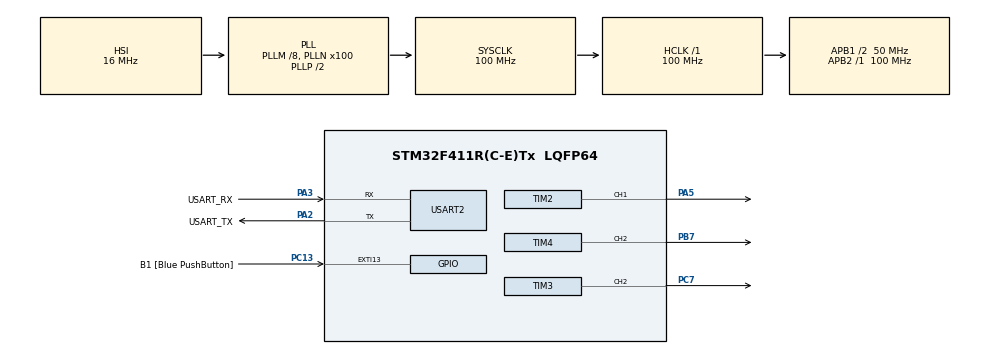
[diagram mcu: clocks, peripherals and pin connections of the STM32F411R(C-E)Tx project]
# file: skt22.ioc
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Mcu.Family=STM32F4
Mcu.Name=STM32F411R(C-E)Tx
Mcu.Package=LQFP64
NVIC.EXTI15_10_IRQn=true\:0\:2\:true\:false\:true\:true\:true\:true
NVIC.PriorityGroup=NVIC_PRIORITYGROUP_0
NVIC.TIM3_IRQn=true\:0\:0\:false\:false\:true\:true\:true\:true
NVIC.TIM4_IRQn=true\:0\:0\:false\:false\:true\:true\:true\:true
NVIC.USART2_IRQn=true\:0\:2\:false\:false\:true\:true\:true\:true
PA13.GPIO_Label=TMS
PA13.Mode=Serial_Wire
PA13.Signal=SYS_JTMS-SWDIO
PA14.GPIO_Label=TCK
PA14.Mode=Serial_Wire
PA14.Signal=SYS_JTCK-SWCLK
PA2.GPIO_Label=USART_TX
PA2.Mode=Asynchronous
PA2.Signal=USART2_TX
PA3.GPIO_Label=USART_RX
PA3.Mode=Asynchronous
PA3.Signal=USART2_RX
PA5.Signal=S_TIM2_CH1_ETR
PB3.GPIO_Label=SWO
PB3.Signal=SYS_JTDO-SWO
PB7.Signal=S_TIM4_CH2
PC13-ANTI_TAMP.GPIO_Label=B1 [Blue PushButton]
PC13-ANTI_TAMP.GPIO_ModeDefaultEXTI=GPIO_MODE_IT_RISING_FALLING
PC13-ANTI_TAMP.Signal=GPXTI13
PC14-OSC32_IN.Mode=LSE-External-Oscillator
PC14-OSC32_IN.Signal=RCC_OSC32_IN
PC15-OSC32_OUT.Mode=LSE-External-Oscillator
PC15-OSC32_OUT.Signal=RCC_OSC32_OUT
PC7.Signal=S_TIM3_CH2
PH0\ -\ OSC_IN.Mode=HSE-External-Clock-Source
PH0\ -\ OSC_IN.Signal=RCC_OSC_IN
PH1\ -\ OSC_OUT.Mode=HSE-External-Clock-Source
PH1\ -\ OSC_OUT.Signal=RCC_OSC_OUT
ProjectManager.HeapSize=0x200
ProjectManager.StackSize=0x400
ProjectManager.TargetToolchain=STM32CubeIDE
RCC.48MHZClocksFreq_Value=50000000
RCC.AHBFreq_Value=100000000
RCC.APB1CLKDivider=RCC_HCLK_DIV2
RCC.APB1Freq_Value=50000000
RCC.APB1TimFreq_Value=100000000
RCC.APB2Freq_Value=100000000
RCC.APB2TimFreq_Value=100000000
RCC.CortexFreq_Value=100000000
RCC.FLatency-AdvancedSettings=FLASH_LATENCY_3
RCC.HCLKFreq_Value=100000000
RCC.HSE_VALUE=8000000
RCC.HSI_VALUE=16000000
RCC.PLLM=8
RCC.PLLN=100
RCC.SYSCLKFreq_VALUE=100000000
RCC.SYSCLKSource=RCC_SYSCLKSOURCE_PLLCLK
RCC.VCOOutputFreq_Value=200000000
SH.S_TIM2_CH1_ETR.0=TIM2_CH1,PWM Generation1 CH1
SH.S_TIM3_CH2.0=TIM3_CH2,PWM Generation2 CH2
SH.S_TIM4_CH2.0=TIM4_CH2,PWM Generation2 CH2
TIM2.AutoReloadPreload=TIM_AUTORELOAD_PRELOAD_ENABLE
TIM2.Channel-PWM\ Generation1\ CH1=TIM_CHANNEL_1
TIM2.Period=100
TIM2.Prescaler=999
TIM3.AutoReloadPreload=TIM_AUTORELOAD_PRELOAD_ENABLE
TIM3.Channel-PWM\ Generation2\ CH2=TIM_CHANNEL_2
TIM3.Period=4999
TIM3.Prescaler=999
TIM4.AutoReloadPreload=TIM_AUTORELOAD_PRELOAD_ENABLE
TIM4.Channel-PWM\ Generation2\ CH2=TIM_CHANNEL_2
TIM4.Period=29999
TIM4.Prescaler=9999
USART2.VirtualMode=VM_ASYNC
board=NUCLEO-F411RE

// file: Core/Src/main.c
/* USER CODE BEGIN Header */
/**
 ******************************************************************************
 * @file           : main.c
 * @brief          : Main program body
 ******************************************************************************
 * @attention
 *
 * Copyright (c) 2024 STMicroelectronics.
 * All rights reserved.
 *
 * This software is licensed under terms that can be found in the LICENSE file
 * in the root directory of this software component.
 * If no LICENSE file comes with this software, it is provided AS-IS.
 *
 ******************************************************************************
 */
/* USER CODE END Header */
#include "main.h"

TIM_HandleTypeDef htim2;
TIM_HandleTypeDef htim3;
TIM_HandleTypeDef htim4;

UART_HandleTypeDef huart2;

void SystemClock_Config(void);
static void MX_GPIO_Init(void);
static void MX_USART2_UART_Init(void);
static void MX_TIM2_Init(void);
static void MX_TIM3_Init(void);
static void MX_TIM4_Init(void);

/* USER CODE BEGIN 0 */
uint8_t isTakingInput = 1;
uint8_t state = GPIO_PIN_SET;
uint8_t lastState = GPIO_PIN_SET;
uint8_t isPushing = 0;
uint8_t lastPushTick = 0;
uint8_t debounceTick = 50;
uint8_t maxHoldTime = 2000;
uint8_t isHaling = 0;
uint8_t justStart = 1;
char ch;

int curTick = 0;
int lastTick = 0;

int percent[] = { 0, 10, 20, 30, 40, 50, 60, 70, 80, 90, 100 };
int percentIdx = 0;

void HAL_TIM_PeriodElapsedCallback(TIM_HandleTypeDef *htim) {
	if (htim->Instance == htim3.Instance) {
		if (HAL_GPIO_ReadPin(GPIOC, GPIO_PIN_13) == GPIO_PIN_RESET) {
			lastPushTick = HAL_GetTick();
			if (isTakingInput == 1) {
				percentIdx++;
				percentIdx = percentIdx % 11;
				char buffer[32];
				sprintf(buffer, "%d\r\n", percentIdx);
				HAL_UART_Transmit(&huart2, &buffer, strlen(buffer), 100);
			}

			HAL_TIM_Base_Stop(htim);
		}

	}

	else if (htim->Instance == htim4.Instance) {

		if (HAL_GPIO_ReadPin(GPIOC, GPIO_PIN_13) == GPIO_PIN_RESET
				&& 2000 < HAL_GetTick() - lastPushTick && justStart == 0) {

			isTakingInput = 0;
			char buffer[32];
			sprintf(buffer, "TRIGGER 2 SEC\r\n");
			HAL_UART_Transmit(&huart2, &buffer, strlen(buffer), 100);

		}
		isHaling = 0;
		justStart = 0;
		HAL_TIM_Base_Stop(htim);
	}
}

void HAL_GPIO_EXTI_Callback(uint16_t GPIO_Pin) {

	state = HAL_GPIO_ReadPin(GPIOC, GPIO_PIN_13);
//	char buffer[32];
//	sprintf(buffer, "%d----\r\n", percentIdx);
//	HAL_UART_Transmit(&huart2, &buffer, strlen(buffer), 100);

	if (state == GPIO_PIN_RESET) {
		HAL_TIM_Base_Start_IT(&htim3); // 50 ms delay
		if (isHaling == 0) {
			HAL_TIM_Base_Start_IT(&htim4); // 2000 ms delay
			isHaling == 1;
		}

	}

//	if (curTick - lastPushTick >= 2000) {
//		isTakingInput = 0;
//		char buffer[32];
//		sprintf(buffer, "NOMORE INPUT\r\n");
//		HAL_UART_Transmit(&huart2, &buffer, strlen(buffer), 100);
//		return;
//	}
//
//	if (isPushing == 0 && state == GPIO_PIN_RESET) {
//
//	}
//
//	lastPushTick = curTick;

}
/* USER CODE END 0 */

int main(void) {

	/* MCU Configuration--------------------------------------------------------*/

	/* Reset of all peripherals, Initializes the Flash interface and the Systick. */
	HAL_Init();

	/* Configure the system clock */
	SystemClock_Config();

	/* Initialize all configured peripherals */
	MX_GPIO_Init();
	MX_USART2_UART_Init();
	MX_TIM2_Init();
	MX_TIM3_Init();
	MX_TIM4_Init();
	/* USER CODE BEGIN 2 */
	HAL_TIM_PWM_Start(&htim2, TIM_CHANNEL_1);

	/* USER CODE END 2 */

	/* Infinite loop */
	/* USER CODE BEGIN WHILE */
	while (1) {
		TIM2->CCR1 = percent[percentIdx];

		if (HAL_UART_Receive(&huart2, &ch, 1, 100) == HAL_OK) {
			if (ch == '\r' || ch == '\n') {
				HAL_UART_Transmit(&huart2, "\r\n", 2, 100);
			} else {
				HAL_UART_Transmit(&huart2, &ch, 1, 100);
			}
		}
		/* USER CODE END WHILE */

	}
}

void SystemClock_Config(void) {
	RCC_OscInitTypeDef RCC_OscInitStruct = { 0 };
	RCC_ClkInitTypeDef RCC_ClkInitStruct = { 0 };

	/** Configure the main internal regulator output voltage
	 */
	__HAL_RCC_PWR_CLK_ENABLE();
	__HAL_PWR_VOLTAGESCALING_CONFIG(PWR_REGULATOR_VOLTAGE_SCALE1);

	/** Initializes the RCC Oscillators according to the specified parameters
	 * in the RCC_OscInitTypeDef structure.
	 */
	RCC_OscInitStruct.OscillatorType = RCC_OSCILLATORTYPE_HSI;
	RCC_OscInitStruct.HSIState = RCC_HSI_ON;
	RCC_OscInitStruct.HSICalibrationValue = RCC_HSICALIBRATION_DEFAULT;
	RCC_OscInitStruct.PLL.PLLState = RCC_PLL_ON;
	RCC_OscInitStruct.PLL.PLLSource = RCC_PLLSOURCE_HSI;
	RCC_OscInitStruct.PLL.PLLM = 8;
	RCC_OscInitStruct.PLL.PLLN = 100;
	RCC_OscInitStruct.PLL.PLLP = RCC_PLLP_DIV2;
	RCC_OscInitStruct.PLL.PLLQ = 4;
	if (HAL_RCC_OscConfig(&RCC_OscInitStruct) != HAL_OK) {
		Error_Handler();
	}

	/** Initializes the CPU, AHB and APB buses clocks
	 */
	RCC_ClkInitStruct.ClockType = RCC_CLOCKTYPE_HCLK | RCC_CLOCKTYPE_SYSCLK
			| RCC_CLOCKTYPE_PCLK1 | RCC_CLOCKTYPE_PCLK2;
	RCC_ClkInitStruct.SYSCLKSource = RCC_SYSCLKSOURCE_PLLCLK;
	RCC_ClkInitStruct.AHBCLKDivider = RCC_SYSCLK_DIV1;
	RCC_ClkInitStruct.APB1CLKDivider = RCC_HCLK_DIV2;
	RCC_ClkInitStruct.APB2CLKDivider = RCC_HCLK_DIV1;

	if (HAL_RCC_ClockConfig(&RCC_ClkInitStruct, FLASH_LATENCY_3) != HAL_OK) {
		Error_Handler();
	}
}

static void MX_TIM2_Init(void) {

	TIM_MasterConfigTypeDef sMasterConfig = { 0 };
	TIM_OC_InitTypeDef sConfigOC = { 0 };

	htim2.Instance = TIM2;
	htim2.Init.Prescaler = 999;
	htim2.Init.CounterMode = TIM_COUNTERMODE_UP;
	htim2.Init.Period = 100;
	htim2.Init.ClockDivision = TIM_CLOCKDIVISION_DIV1;
	htim2.Init.AutoReloadPreload = TIM_AUTORELOAD_PRELOAD_ENABLE;
	if (HAL_TIM_PWM_Init(&htim2) != HAL_OK) {
		Error_Handler();
	}
	sMasterConfig.MasterOutputTrigger = TIM_TRGO_RESET;
	sMasterConfig.MasterSlaveMode = TIM_MASTERSLAVEMODE_DISABLE;
	if (HAL_TIMEx_MasterConfigSynchronization(&htim2, &sMasterConfig)
			!= HAL_OK) {
		Error_Handler();
	}
	sConfigOC.OCMode = TIM_OCMODE_PWM1;
	sConfigOC.Pulse = 0;
	sConfigOC.OCPolarity = TIM_OCPOLARITY_HIGH;
	sConfigOC.OCFastMode = TIM_OCFAST_DISABLE;
	if (HAL_TIM_PWM_ConfigChannel(&htim2, &sConfigOC, TIM_CHANNEL_1)
			!= HAL_OK) {
		Error_Handler();
	}
	HAL_TIM_MspPostInit(&htim2);

}

static void MX_TIM3_Init(void) {

	TIM_MasterConfigTypeDef sMasterConfig = { 0 };
	TIM_OC_InitTypeDef sConfigOC = { 0 };

	htim3.Instance = TIM3;
	htim3.Init.Prescaler = 999;
	htim3.Init.CounterMode = TIM_COUNTERMODE_UP;
	htim3.Init.Period = 4999;
	htim3.Init.ClockDivision = TIM_CLOCKDIVISION_DIV1;
	htim3.Init.AutoReloadPreload = TIM_AUTORELOAD_PRELOAD_ENABLE;
	if (HAL_TIM_PWM_Init(&htim3) != HAL_OK) {
		Error_Handler();
	}
	sMasterConfig.MasterOutputTrigger = TIM_TRGO_RESET;
	sMasterConfig.MasterSlaveMode = TIM_MASTERSLAVEMODE_DISABLE;
	if (HAL_TIMEx_MasterConfigSynchronization(&htim3, &sMasterConfig)
			!= HAL_OK) {
		Error_Handler();
	}
	sConfigOC.OCMode = TIM_OCMODE_PWM1;
	sConfigOC.Pulse = 0;
	sConfigOC.OCPolarity = TIM_OCPOLARITY_HIGH;
	sConfigOC.OCFastMode = TIM_OCFAST_DISABLE;
	if (HAL_TIM_PWM_ConfigChannel(&htim3, &sConfigOC, TIM_CHANNEL_2)
			!= HAL_OK) {
		Error_Handler();
	}
	HAL_TIM_MspPostInit(&htim3);

}

static void MX_TIM4_Init(void) {

	TIM_MasterConfigTypeDef sMasterConfig = { 0 };
	TIM_OC_InitTypeDef sConfigOC = { 0 };

	htim4.Instance = TIM4;
	htim4.Init.Prescaler = 9999;
	htim4.Init.CounterMode = TIM_COUNTERMODE_UP;
	htim4.Init.Period = 29999;
	htim4.Init.ClockDivision = TIM_CLOCKDIVISION_DIV1;
	htim4.Init.AutoReloadPreload = TIM_AUTORELOAD_PRELOAD_ENABLE;
	if (HAL_TIM_PWM_Init(&htim4) != HAL_OK) {
		Error_Handler();
	}
	sMasterConfig.MasterOutputTrigger = TIM_TRGO_RESET;
	sMasterConfig.MasterSlaveMode = TIM_MASTERSLAVEMODE_DISABLE;
	if (HAL_TIMEx_MasterConfigSynchronization(&htim4, &sMasterConfig)
			!= HAL_OK) {
		Error_Handler();
	}
	sConfigOC.OCMode = TIM_OCMODE_PWM1;
	sConfigOC.Pulse = 0;
	sConfigOC.OCPolarity = TIM_OCPOLARITY_HIGH;
	sConfigOC.OCFastMode = TIM_OCFAST_DISABLE;
	if (HAL_TIM_PWM_ConfigChannel(&htim4, &sConfigOC, TIM_CHANNEL_2)
			!= HAL_OK) {
		Error_Handler();
	}
	HAL_TIM_MspPostInit(&htim4);

}

static void MX_USART2_UART_Init(void) {

	huart2.Instance = USART2;
	huart2.Init.BaudRate = 115200;
	huart2.Init.WordLength = UART_WORDLENGTH_8B;
	huart2.Init.StopBits = UART_STOPBITS_1;
	huart2.Init.Parity = UART_PARITY_NONE;
	huart2.Init.Mode = UART_MODE_TX_RX;
	huart2.Init.HwFlowCtl = UART_HWCONTROL_NONE;
	huart2.Init.OverSampling = UART_OVERSAMPLING_16;
	if (HAL_UART_Init(&huart2) != HAL_OK) {
		Error_Handler();
	}

}

static void MX_GPIO_Init(void) {
	GPIO_InitTypeDef GPIO_InitStruct = { 0 };

	/* GPIO Ports Clock Enable */
	__HAL_RCC_GPIOC_CLK_ENABLE();
	__HAL_RCC_GPIOH_CLK_ENABLE();
	__HAL_RCC_GPIOA_CLK_ENABLE();
	__HAL_RCC_GPIOB_CLK_ENABLE();

	/*Configure GPIO pin : B1_Pin */
	GPIO_InitStruct.Pin = B1_Pin;
	GPIO_InitStruct.Mode = GPIO_MODE_IT_RISING_FALLING;
	GPIO_InitStruct.Pull = GPIO_NOPULL;
	HAL_GPIO_Init(B1_GPIO_Port, &GPIO_InitStruct);

	/* EXTI interrupt init*/
	HAL_NVIC_SetPriority(EXTI15_10_IRQn, 0, 2);
	HAL_NVIC_EnableIRQ(EXTI15_10_IRQn);

}

void Error_Handler(void) {
	__disable_irq();
	while (1) {
	}
}
